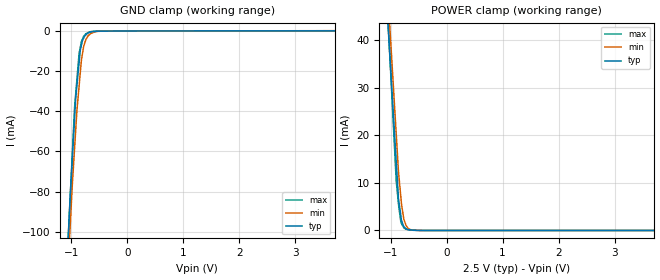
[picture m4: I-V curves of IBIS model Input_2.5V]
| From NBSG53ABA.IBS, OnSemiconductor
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[Model] Input_2.5V
Model_type Input
Vinl = 1.275V
Vinh = 1.125V
C_comp 500.0fF  500.0fF  500.0fF
[Model Spec]
Vinh  1.275V  1.275V  1.275V
Vinl  1.125V  1.125V  1.125V
| variable typ   min   max
[Voltage Range]   2.50000V  2.37500V  2.62500V
[POWER Clamp Reference]  2.50000V  2.37500V  2.62500V
[GND Clamp Reference]   0.00000V  0.00000V  0.00000V
[Temperature Range]  25   85   0
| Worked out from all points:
|   GND clamp passes 1 mA (typ) near -0.69 V on its own axis
|   POWER clamp passes 1 mA (typ) near -0.77 V on its own axis
[GND Clamp]
-2.5V     -951.2mA   -900.6mA   -924.6mA
-1.023V   -83.45mA   -98.42mA   -84.05mA
-982.5mV  -63.35mA   -76.39mA   -60.96mA
-942mV    -43.26mA   -58.15mA   -37.89mA
-921.8mV  -33.22mA   -49.04mA   -31.19mA
-901.4mV  -27.3mA    -39.9mA    -24.47mA
-861.1mV  -15.53mA   -27.25mA   -11.14mA
-841mV    -9.677mA   -20.96mA   -8.233mA
-820.9mV  -7.222mA   -14.63mA   -5.313mA
-780.5mV  -3.632mA   -7.756mA   -2.645mA
-679.2mV  -828.6uA   -1.919mA   -548.7uA
5V        51.31uA    169.4uA    52.08uA
[POWER Clamp]
-2.5V     327.8mA    335.3mA    377.8mA
-1.02V    38.33mA    44.22mA    38.39mA
-959.8mV  26.5mA     32.32mA    24.51mA
-898.8mV  14.57mA    20.31mA    10.52mA
-858.5mV  6.688mA    12.39mA    5.566mA
-817.7mV  3.259mA    7.259mA    1.915mA
-803.5mV  2.065mA    5.475mA    1.442mA
-763mV    809.7uA    2.412mA    563.5uA
-722.6mV  359.9uA    1.014mA    256.3uA
-661.3mV  150.2uA    248.2uA    125.4uA
-499.5mV  14.19uA    52.88nA    25.11uA
5V        0A         0A         0A
